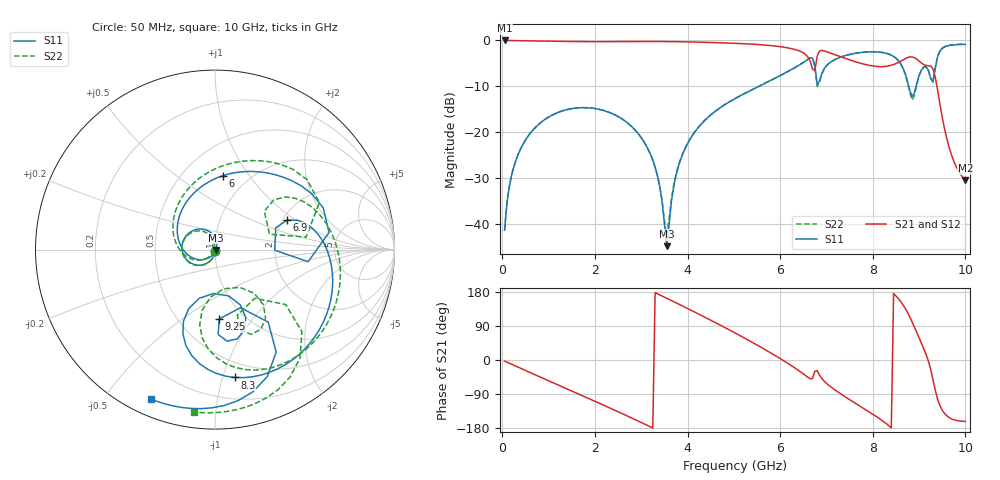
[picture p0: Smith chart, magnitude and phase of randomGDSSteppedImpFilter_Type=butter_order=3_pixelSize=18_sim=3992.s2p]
! freq	dB(S11)	phase(S11)	dB(S12)	phase(S12)
!  dB(S21)	phase(S21)	dB(S22)	phase(S22)
!S-par simulation data
#  GHz  S  DB  R 50
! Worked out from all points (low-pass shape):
!   200 points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, 50 MHz to 10 GHz, reference 50 ohm
!   highest |S21| = -0.01 dB at 50 MHz (marker M1); lowest = -30.5 dB at 10 GHz (marker M2)
!   |S21| within 3 dB of the highest: start of sweep to 6.54 GHz; 6.82 GHz to 7.154 GHz (333.7 MHz wide, 4.78 % of centre)
!   lowest |S11| = -44.9 dB at 3.55 GHz (marker M3), VSWR 1.01, Z = 50.6 - j0.139 ohm
!   |S11| at or under -10 dB: start of sweep to 5.545 GHz; 8.777 GHz to 8.935 GHz (157.9 MHz wide, 1.78 % of centre)
!   |S22| runs from -42.5 to -0.8 dB; largest |S21 - S12| = 0
!   S11 on the Smith chart (normalised r, x): 50 MHz: 1.00, -0.02; 6 GHz: 0.76, +0.76; 6.9 GHz: 2.11, +0.86; 8.3 GHz: 0.37, -1.10; 9.25 GHz: 0.77, -0.70; 10 GHz: 0.07, -0.66
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0.05  -41.38 -91.2  -0.01 -2.8  -0.01 -2.8  -41.38 -91.1
0.2  -29.45 -101.2  -0.02 -11.1  -0.02 -11.1  -29.45 -100.8
0.5  -21.75 -118.3  -0.06 -27.6  -0.06 -27.6  -21.75 -117.5
1.75  -14.66 172.2  -0.26 -95.3  -0.26 -95.3  -14.67 175.7
2.85  -19.36 108.7  -0.24 -156.2  -0.24 -156.2  -19.37 118.0
3.4  -31.88 67.2  -0.24 171.8  -0.24 171.8  -31.85 99.3
3.55  -44.90 -14.0  -0.25 163.0  -0.25 163.0  -42.55 164.1
3.7  -31.94 -108.7  -0.27 154.0  -0.27 154.0  -31.64 -129.0
3.95  -23.53 -131.3  -0.31 138.9  -0.31 138.9  -23.44 -134.1
5.05  -12.57 153.4  -0.64 69.9  -0.64 69.9  -12.54 164.1
6  -7.67 84.2  -1.36 3.8  -1.36 3.8  -7.68 100.4
6.7  -3.84 8.5  -6.26 -48.3  -6.26 -48.3  -3.90 24.3
6.8  -9.55 -0.6  -3.46 -28.1  -3.46 -28.1  -10.03 15.8
6.9  -7.24 22.2  -2.18 -48.8  -2.18 -48.8  -7.35 40.2
7.55  -2.96 -26.8  -4.40 -108.4  -4.40 -108.4  -2.95 -11.2
8.3  -2.84 -81.2  -5.63 -168.7  -5.63 -168.7  -2.83 -67.2
8.35  -3.00 -85.1  -5.54 -173.7  -5.54 -173.7  -2.99 -71.3
8.7  -7.22 -113.8  -3.97 136.4  -3.97 136.4  -7.37 -101.5
8.9  -11.40 -73.6  -3.76 86.6  -3.76 86.6  -11.99 -56.7
9.25  -8.24 -86.5  -5.59 -24.5  -5.59 -24.5  -8.26 -71.2
9.45  -2.33 -67.6  -13.89 -120.2  -13.89 -120.2  -2.30 -51.9
10  -0.86 -113.3  -30.52 -162.0  -30.52 -162.0  -0.79 -97.3
